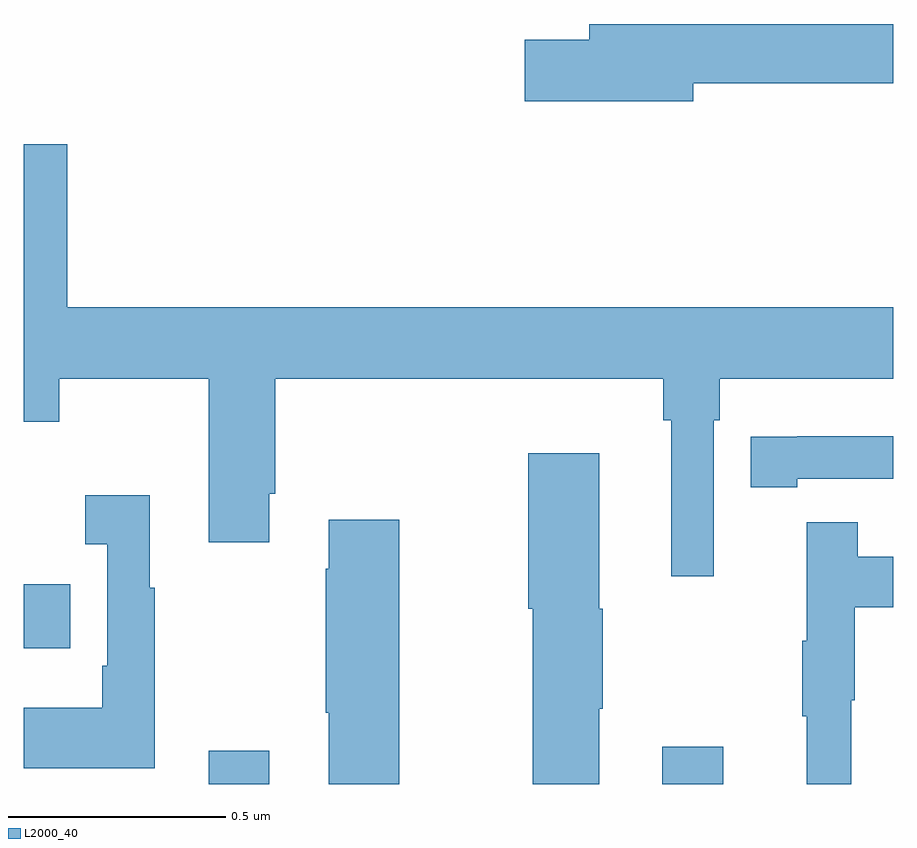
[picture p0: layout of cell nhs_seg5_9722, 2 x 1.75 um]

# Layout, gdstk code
import gdstk
lib = gdstk.Library(unit=1e-6, precision=1e-09)
def R(c, l, rs):  # rectangles x0, y0, x1, y1
    for r in rs: c.add(gdstk.rectangle(r[:2], r[2:], *l))
def P(c, l, *ps):  # polygons
    for p in ps: c.add(gdstk.Polygon(p, *l))
L2000_40 = (2000, 40)

nhs_seg5_9722 = lib.new_cell('nhs_seg5_9722')
R(nhs_seg5_9722, L2000_40, [(237.425,883.799,237.565,883.876), (238.469,883.799,238.609,883.885), (237,884.111,237.107,884.259)])
P(nhs_seg5_9722, L2000_40, [(238.54,885.412),(239,885.412),(239,885.548),(238.301,885.548),(238.301,885.512),(238.152,885.512),(238.152,885.37),(238.54,885.37)],
  [(238.587,884.636),(238.601,884.636),(238.601,884.732),(239,884.732),(239,884.896),(237.1,884.896),(237.1,885.271),(237,885.271),(237,884.633),(237.081,884.633),(237.081,884.732),(237.425,884.732),(237.425,884.355),(237.565,884.355),(237.565,884.467),(237.578,884.467),(237.578,884.732),(238.471,884.732),(238.471,884.636),(238.49,884.636),(238.49,884.277),(238.587,884.277)],
  [(238.78,884.502),(239,884.502),(239,884.599),(238.78,884.599),(238.78,884.598),(238.672,884.598),(238.672,884.482),(238.78,884.482)],
  [(238.324,883.972),(238.332,883.972),(238.332,884.202),(238.324,884.202),(238.324,884.56),(238.16,884.56),(238.16,884.202),(238.171,884.202),(238.171,883.799),(238.324,883.799)],
  [(237.301,884.251),(237.289,884.251),(237.289,884.464),(237.141,884.464),(237.141,884.351),(237.192,884.351),(237.192,884.071),(237.18,884.071),(237.18,883.975),(237,883.975),(237,883.835),(237.301,883.835)],
  [(237.864,884.407),(237.701,884.407),(237.701,884.294),(237.694,884.294),(237.694,883.963),(237.701,883.963),(237.701,883.799),(237.864,883.799)],
  [(238.904,883.992),(238.912,883.992),(238.912,884.206),(239,884.206),(239,884.322),(238.919,884.322),(238.919,884.401),(238.802,884.401),(238.802,884.129),(238.791,884.129),(238.791,883.955),(238.802,883.955),(238.802,883.799),(238.904,883.799)])

lib.write_gds('nhs_seg5_9722.gds')
